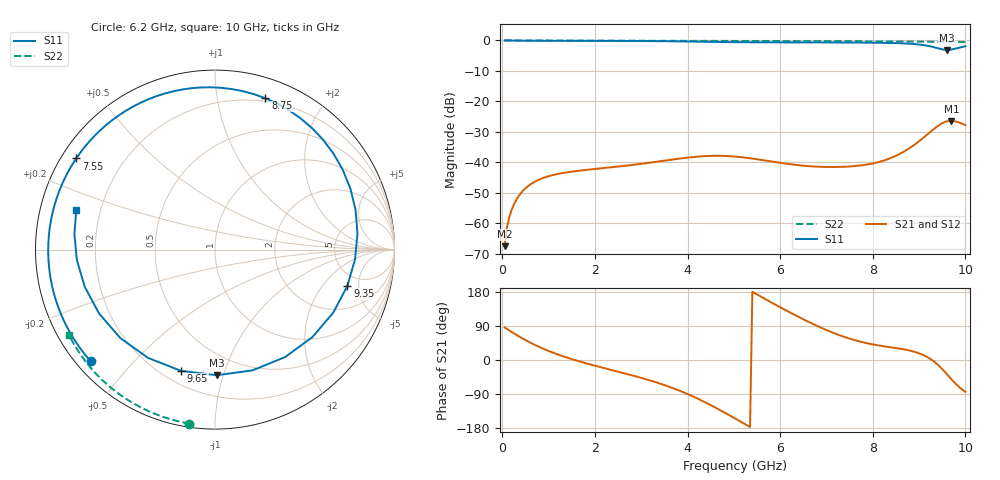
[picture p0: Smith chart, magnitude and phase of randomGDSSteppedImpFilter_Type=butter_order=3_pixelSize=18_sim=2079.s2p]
! freq	dB(S11)	phase(S11)	dB(S12)	phase(S12)
!  dB(S21)	phase(S21)	dB(S22)	phase(S22)
!S-par simulation data
#  GHz  S  DB  R 50
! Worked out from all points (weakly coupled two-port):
!   200 points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, 50 MHz to 10 GHz, reference 50 ohm
!   highest |S21| = -26.38 dB at 9.7 GHz (marker M1); lowest = -67.5 dB at 50 MHz (marker M2)
!   lowest |S11| = -3.1 dB at 9.6 GHz (marker M3), VSWR 5.66, Z = 17.4 - j47.6 ohm
!   |S11| at or under -10 dB: nowhere
!   |S22| runs from -0.5 to 0.0 dB; largest |S21 - S12| = 0
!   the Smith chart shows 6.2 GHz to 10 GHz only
!   S11 on the Smith chart (normalised r, x): 6.2 GHz: 0.04, -0.38; 7.55 GHz: 0.04, +0.30; 8.75 GHz: 0.17, +1.37; 9.35 GHz: 3.77, -3.68; 9.65 GHz: 0.27, -0.72; 10 GHz: 0.11, +0.14
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0.05  -0.01 -7.1  -67.47 85.9  -67.47 85.9  -0.00 -0.9
0.25  -0.05 -34.8  -53.78 70.4  -53.78 70.4  -0.01 -4.3
0.7  -0.10 -88.4  -46.35 40.0  -46.35 40.0  -0.02 -12.1
1.2  -0.11 -132.3  -43.78 14.6  -43.78 14.6  -0.03 -20.6
1.75  -0.12 -168.5  -42.55 -6.7  -42.55 -6.7  -0.04 -29.9
2.55  -0.15 146.7  -41.29 -32.4  -41.29 -32.4  -0.06 -43.1
3.4  -0.23 95.7  -39.63 -62.0  -39.63 -62.0  -0.08 -56.7
3.9  -0.32 59.0  -38.61 -84.6  -38.61 -84.6  -0.09 -64.5
4.35  -0.42 20.1  -37.96 -109.7  -37.96 -109.7  -0.10 -71.4
5.05  -0.57 -46.4  -38.11 -155.8  -38.11 -155.8  -0.13 -81.8
5.55  -0.61 -90.6  -39.08 169.6  -39.08 169.6  -0.15 -89.1
6.2  -0.62 -138.0  -40.56 126.3  -40.56 126.3  -0.18 -98.3
6.7  -0.63 -168.1  -41.31 95.5  -41.31 95.5  -0.21 -105.3
7.55  -0.68 146.7  -41.27 54.5  -41.27 54.5  -0.26 -116.9
8.35  -0.82 101.5  -38.79 34.2  -38.79 34.2  -0.33 -127.7
8.75  -1.02 71.6  -35.74 26.2  -35.74 26.2  -0.37 -133.0
9.05  -1.42 39.0  -32.45 15.2  -32.45 15.2  -0.40 -137.1
9.35  -2.33 -15.4  -28.68 -6.7  -28.68 -6.7  -0.44 -141.1
9.6  -3.10 -89.2  -26.55 -37.4  -26.55 -37.4  -0.47 -144.4
9.65  -3.08 -105.7  -26.41 -44.3  -26.41 -44.3  -0.47 -145.1
9.7  -2.98 -121.7  -26.38 -51.1  -26.38 -51.1  -0.48 -145.7
10  -1.90 164.0  -27.75 -84.2  -27.75 -84.2  -0.51 -149.8
